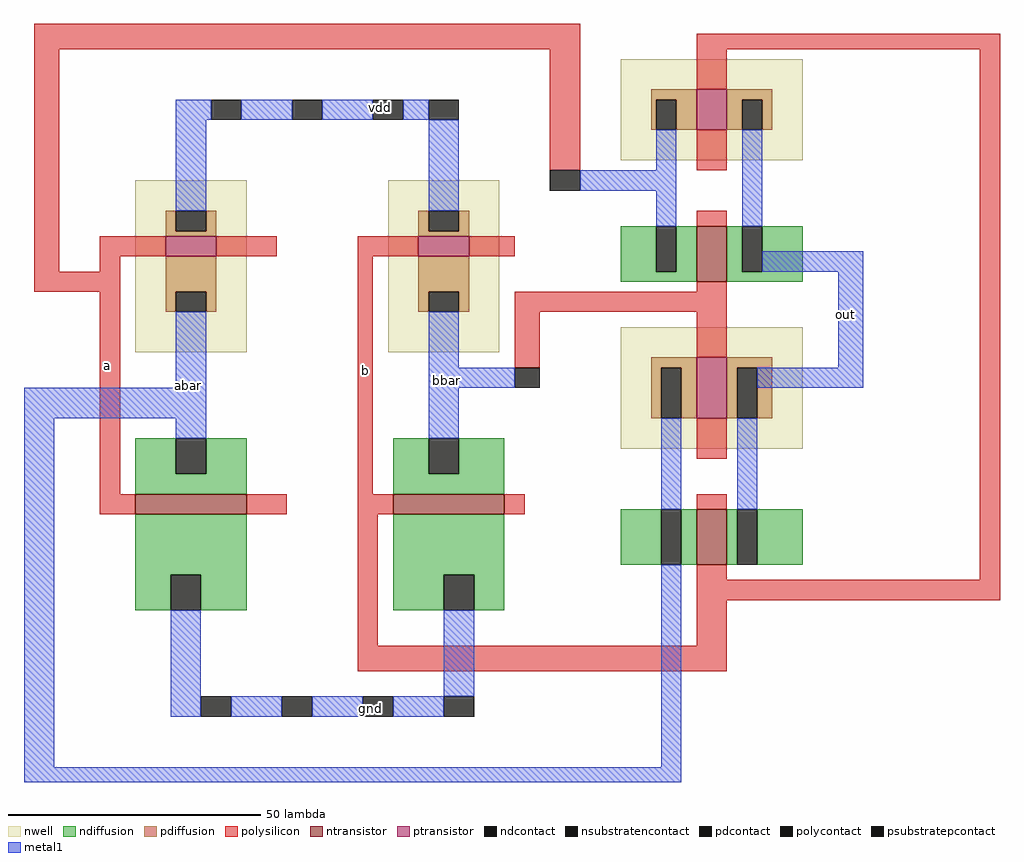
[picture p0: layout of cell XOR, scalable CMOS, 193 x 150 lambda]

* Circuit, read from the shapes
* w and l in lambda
.subckt XOR a abar b bbar gnd out vdd
M1 abar a gnd gnd nfet w=22 l=4
M2 bbar b gnd gnd nfet w=22 l=4
M3 out b abar gnd nfet w=11 l=6
M4 out bbar a gnd nfet w=11 l=6
M5 vdd a abar n1 pfet w=10 l=4
M6 vdd b bbar n2 pfet w=10 l=4
M7 out bbar abar n3 pfet w=12 l=6
M8 out b a n4 pfet w=8 l=6
.ends

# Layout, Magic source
magic
tech scmos
<< nwell >>
rect 62 37 98 57
rect -34 -1 -12 33
rect 16 -1 38 33
rect 62 -20 98 4
<< ntransistor >>
rect 77 13 83 24
rect -34 -33 -12 -29
rect 17 -33 39 -29
rect 77 -43 83 -32
<< ptransistor >>
rect 77 43 83 51
rect -28 18 -18 22
rect 22 18 32 22
rect 77 -14 83 -2
<< ndiffusion >>
rect -34 -25 -26 -18
rect -20 -25 -12 -18
rect -34 -29 -12 -25
rect 62 15 69 24
rect 73 15 77 24
rect 62 13 77 15
rect 83 15 86 24
rect 90 15 98 24
rect 83 13 98 15
rect 17 -25 24 -18
rect 30 -25 39 -18
rect 17 -29 39 -25
rect -34 -45 -12 -33
rect -34 -52 -27 -45
rect -21 -52 -12 -45
rect 17 -45 39 -33
rect 62 -43 70 -32
rect 74 -43 77 -32
rect 83 -43 85 -32
rect 89 -43 98 -32
rect 17 -52 27 -45
rect 33 -52 39 -45
<< pdiffusion >>
rect 68 49 77 51
rect 68 43 69 49
rect 73 43 77 49
rect 83 49 92 51
rect 83 43 86 49
rect 90 43 92 49
rect -28 23 -26 27
rect -20 23 -18 27
rect -28 22 -18 23
rect 22 23 24 27
rect 30 23 32 27
rect 22 22 32 23
rect -28 11 -18 18
rect -28 7 -26 11
rect -20 7 -18 11
rect 22 11 32 18
rect 22 7 24 11
rect 30 7 32 11
rect 68 -4 77 -2
rect 68 -14 70 -4
rect 74 -14 77 -4
rect 83 -4 92 -2
rect 83 -14 85 -4
rect 89 -14 92 -4
<< ndcontact >>
rect -26 -25 -20 -18
rect 69 15 73 24
rect 86 15 90 24
rect 24 -25 30 -18
rect -27 -52 -21 -45
rect 70 -43 74 -32
rect 85 -43 89 -32
rect 27 -52 33 -45
<< pdcontact >>
rect 69 43 73 49
rect 86 43 90 49
rect -26 23 -20 27
rect 24 23 30 27
rect -26 7 -20 11
rect 24 7 30 11
rect 70 -14 74 -4
rect 85 -14 89 -4
<< psubstratepcontact >>
rect -21 -73 -15 -69
rect -5 -73 1 -69
rect 11 -73 17 -69
rect 27 -73 33 -69
<< nsubstratencontact >>
rect -19 45 -13 49
rect -3 45 3 49
rect 13 45 19 49
rect 24 45 30 49
<< polysilicon >>
rect -54 59 54 64
rect -54 15 -49 59
rect 48 35 54 59
rect 77 59 137 62
rect 77 51 83 59
rect 77 35 83 43
rect 77 24 83 27
rect -41 18 -28 22
rect -18 18 -6 22
rect 10 18 22 22
rect 32 18 41 22
rect -41 15 -37 18
rect -54 11 -37 15
rect -41 -29 -37 11
rect 10 -29 13 18
rect 77 11 83 13
rect 41 7 83 11
rect 41 -4 46 7
rect 77 -2 83 7
rect 77 -22 83 -14
rect -41 -33 -34 -29
rect -12 -33 -4 -29
rect 10 -33 17 -29
rect 39 -33 43 -29
rect 77 -32 83 -29
rect 10 -59 14 -33
rect 77 -46 83 -43
rect 133 -46 137 59
rect 77 -50 137 -46
rect 77 -59 83 -50
rect 10 -64 83 -59
<< polycontact >>
rect 48 31 54 35
rect 41 -8 46 -4
<< metal1 >>
rect -26 45 -19 49
rect -13 45 -3 49
rect 3 45 13 49
rect 19 45 24 49
rect -26 27 -20 45
rect 24 27 30 45
rect 69 35 73 43
rect 54 31 73 35
rect 69 24 73 31
rect 86 24 90 43
rect 90 15 110 19
rect -26 -8 -20 7
rect -56 -14 -20 -8
rect -56 -83 -50 -14
rect -26 -18 -20 -14
rect 24 -4 30 7
rect 105 -4 110 15
rect 24 -8 41 -4
rect 24 -18 30 -8
rect 70 -32 74 -14
rect 89 -8 110 -4
rect 85 -32 89 -14
rect -27 -73 -21 -52
rect 27 -69 33 -52
rect -15 -73 -5 -69
rect 1 -73 11 -69
rect 17 -73 27 -69
rect 70 -83 74 -43
rect -56 -86 74 -83
<< labels >>
rlabel polysilicon -40 -4 -39 -3 3 a
rlabel polysilicon 11 -5 12 -4 1 b
rlabel metal1 -24 -8 -23 -7 1 abar
rlabel metal1 27 -7 28 -6 1 bbar
rlabel metal1 14 47 15 48 5 vdd
rlabel metal1 12 -72 13 -71 1 gnd
rlabel metal1 106 6 107 7 1 out
<< end >>
